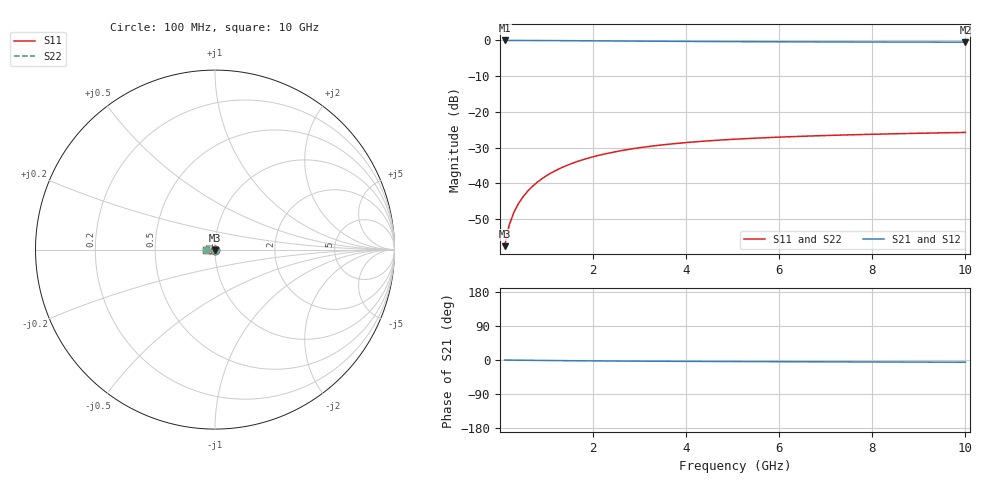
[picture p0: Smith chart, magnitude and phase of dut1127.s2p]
! Touchstone file exported from HFSS 2024.1.0
!  File:  C:/UserFiles/LocalFiles/RDL_TSV_Batchsim/temp_TSV1_1127_1780069678.aedt
!  Generated:  11:53:44 PM May 29, 2026
!  Design:  TSV1
!  Project:  temp_TSV1_1127_1780069678
!  Setup:  Setup1
!  Solution:  Sweep
! Variables:
!  dtsv = 9.22um
!  hbump = 3um
!  htsv = 93.62um
!  lrdl = 252.1521522um
!  p = 40
!  p1 = 45.56um
!  t = 500um
!  trdl = 3um
!  wrdl = 24.89489489um
# GHz S MA R 50.000000
! Terminal data exported
! Port[1] = TSV22_T1
! Port[2] = TSV22_T2
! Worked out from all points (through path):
!   100 points, 100 MHz to 10 GHz, reference 50 ohm
!   highest |S21| = 0.00 dB at 100 MHz (marker M1); lowest = -0.5 dB at 10 GHz (marker M2)
!   lowest |S11| = -57.6 dB at 100 MHz (marker M3), VSWR 1.00, Z = 50 - j0.131 ohm
!   |S11| at or under -10 dB: start of sweep to end of sweep
!   |S22| runs from -57.6 to -25.7 dB; largest |S21 - S12| = 7.7e-15
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0.1  0.001323 -83.4  0.9998 -0.1  0.9998 -0.1  0.001323 -83.4
! Gamma 0 0 0 0
! Port Impedance 50 0 50 0
0.2  0.002628 -89.0  0.9996 -0.3  0.9996 -0.3  0.002628 -89.0
0.3  0.003938 -92.0  0.9994 -0.4  0.9994 -0.4  0.003938 -92.0
0.4  0.005245 -94.3  0.9991 -0.5  0.9991 -0.5  0.005245 -94.3
0.5  0.006544 -96.4  0.9988 -0.7  0.9988 -0.7  0.006544 -96.4
0.6  0.007832 -98.3  0.9984 -0.8  0.9984 -0.8  0.007832 -98.3
0.7  0.009104 -100.2  0.9979 -0.9  0.9979 -0.9  0.009104 -100.2
0.8  0.01036 -102.0  0.9973 -1.0  0.9973 -1.0  0.01036 -102.0
0.9  0.0116 -103.7  0.9967 -1.2  0.9967 -1.2  0.0116 -103.7
1.1  0.014 -107.1  0.9954 -1.4  0.9954 -1.4  0.014 -107.1
1.4  0.01743 -111.9  0.993 -1.7  0.993 -1.7  0.01743 -111.9
1.6  0.01958 -115.0  0.9913 -1.9  0.9913 -1.9  0.01958 -115.0
1.8  0.02162 -117.9  0.9894 -2.1  0.9894 -2.1  0.02162 -117.9
2.1  0.02447 -122.1  0.9866 -2.4  0.9866 -2.4  0.02447 -122.1
2.5  0.02787 -127.3  0.9827 -2.7  0.9827 -2.7  0.02787 -127.3
2.9  0.03085 -132.1  0.979 -3.0  0.979 -3.0  0.03085 -132.1
3.4  0.03405 -137.5  0.9746 -3.3  0.9746 -3.3  0.03405 -137.5
4.2  0.03816 -145.1  0.9684 -3.7  0.9684 -3.7  0.03816 -145.1
5.1  0.04168 -152.3  0.9626 -4.1  0.9626 -4.1  0.04168 -152.3
6.7  0.04609 -162.7  0.9551 -4.7  0.9551 -4.7  0.04609 -162.7
8.4  0.04933 -171.5  0.9498 -5.3  0.9498 -5.3  0.04933 -171.5
10  0.05167 -178.5  0.9463 -5.9  0.9463 -5.9  0.05167 -178.5
